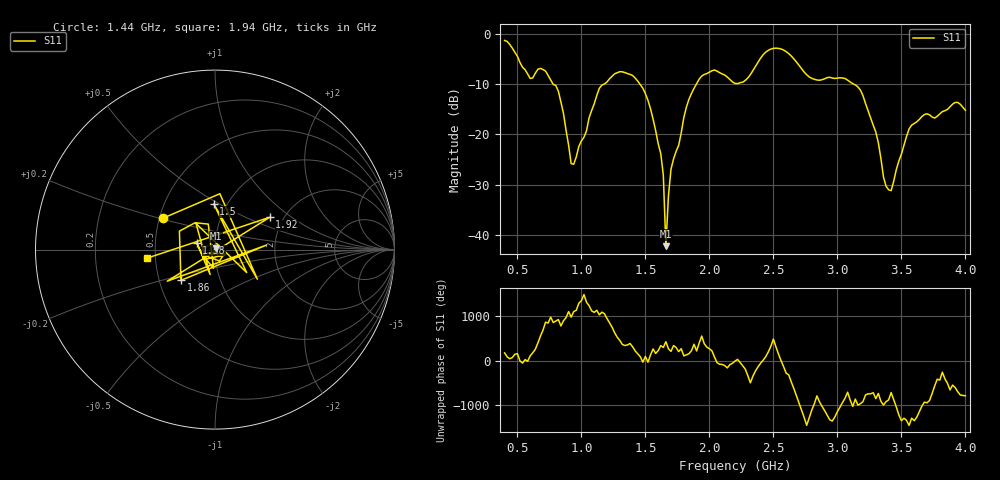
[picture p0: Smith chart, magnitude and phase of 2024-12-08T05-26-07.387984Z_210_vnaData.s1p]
!Created with skrf (http://scikit-rf.org).
# Hz S RI R 50.0
!freq ReS11 ImS11
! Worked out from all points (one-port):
!   181 points, 400 MHz to 4 GHz, reference 50 ohm
!   lowest |S11| = -42.3 dB at 1.66 GHz (marker M1), VSWR 1.02, Z = 50.4 + j0.685 ohm
!   |S11| at or under -10 dB: 778.7 MHz to 1.177 GHz (398.5 MHz wide, 40.7 % of centre); 1.457 GHz to 1.898 GHz (441.3 MHz wide, 26.3 % of centre); 3.129 GHz to end of sweep
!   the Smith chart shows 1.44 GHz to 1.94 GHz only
!   S11 on the Smith chart (normalised r, x): 1.44 GHz: 0.52, +0.21; 1.5 GHz: 0.87, +0.47; 1.58 GHz: 0.81, +0.06; 1.86 GHz: 0.65, -0.24; 1.92 GHz: 1.70, +0.70; 1.94 GHz: 0.45, -0.05
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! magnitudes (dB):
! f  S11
! 400 MHz  -1.3
! 600 MHz  -8.9
! 720 MHz  -7.4
! 860 MHz  -15.8
! 920 MHz  -25.8
! 940 MHz  -25.9
! 1.14 GHz  -10.8
! 1.3 GHz  -7.5
! 1.44 GHz  -9.4
! 1.5 GHz  -11.9
! 1.58 GHz  -19.2
! 1.64 GHz  -28.1
! 1.66 GHz  -42.3
! 1.68 GHz  -32.2
! 1.7 GHz  -26.9
! 1.76 GHz  -22.2
! 1.86 GHz  -11.8
! 1.92 GHz  -9.0
! 1.94 GHz  -8.4
! 2.2 GHz  -9.8
! 2.48 GHz  -3.0
! 2.66 GHz  -5.0
! 2.8 GHz  -8.8
! 3.1 GHz  -9.6
! 3.2 GHz  -12.3
! 3.4 GHz  -31.0
! 3.56 GHz  -18.9
! 4 GHz  -15.2
